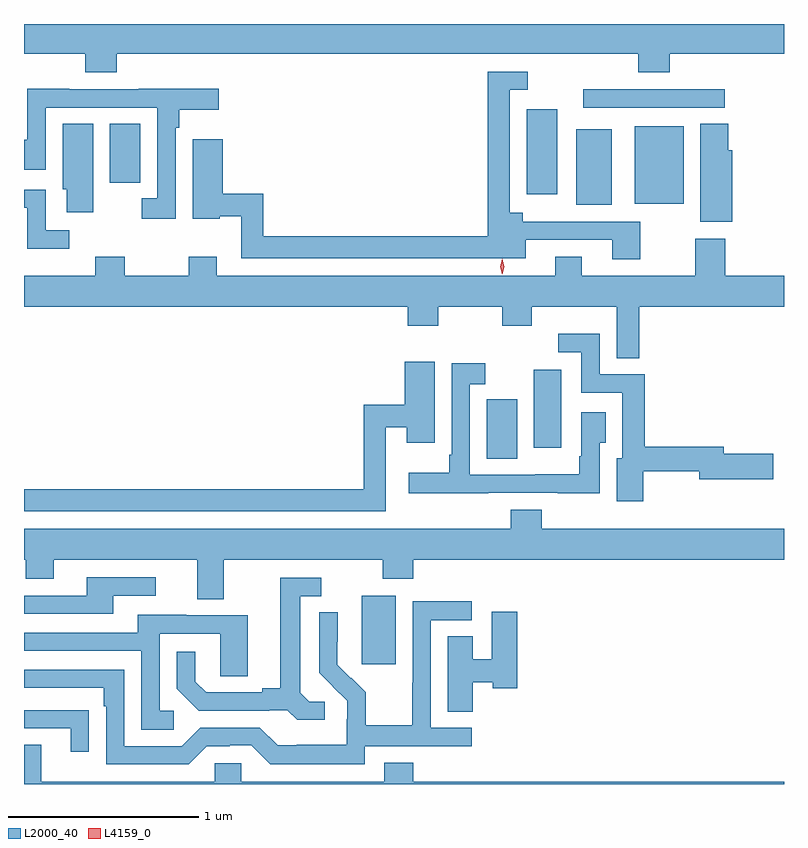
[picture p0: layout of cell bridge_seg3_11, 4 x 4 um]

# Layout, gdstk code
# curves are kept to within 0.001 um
import gdstk
lib = gdstk.Library(unit=1e-6, precision=1e-09)
def R(c, l, rs):  # rectangles x0, y0, x1, y1
    for r in rs: c.add(gdstk.rectangle(r[:2], r[2:], *l))
def P(c, l, *ps):  # polygons
    for p in ps: c.add(gdstk.Polygon(p, *l))
L2000_40 = (2000, 40)
L4159_0 = (4159, 0)

bridge_seg3_11 = lib.new_cell('bridge_seg3_11')
R(bridge_seg3_11, L2000_40, [(686.378,709.689,686.557,710.05), (687.035,710.773,687.196,711.084), (687.284,710.829,687.427,711.241), (687.506,712.109,687.694,712.507), (687.815,712.115,688.072,712.522), (687.245,712.164,687.406,712.612), (685.052,712.224,685.213,712.535), (687.543,712.62,688.288,712.716)])
P(bridge_seg3_11, L2000_40, [(685.088,712.904),(687.833,712.904),(687.833,712.805),(687.998,712.805),(687.998,712.904),(688.6,712.904),(688.6,713.06),(684.6,713.06),(684.6,712.904),(684.923,712.904),(684.923,712.805),(685.088,712.805)],
  [(687.843,712.02),(687.226,712.02),(687.226,712.066),(687.156,712.066),(687.156,712.713),(687.25,712.713),(687.25,712.809),(687.04,712.809),(687.04,711.944),(685.859,711.944),(685.859,712.166),(685.646,712.166),(685.646,712.453),(685.487,712.453),(685.487,712.034),(685.629,712.034),(685.629,712.049),(685.743,712.049),(685.743,711.828),(687.241,711.828),(687.241,711.924),(687.695,711.924),(687.695,711.822),(687.843,711.822)],
  [(685.398,712.514),(685.418,712.514),(685.418,712.61),(685.624,712.61),(685.624,712.718),(685.205,712.718),(685.205,712.716),(684.839,712.716),(684.839,712.718),(684.618,712.718),(684.618,712.452),(684.6,712.452),(684.6,712.293),(684.714,712.293),(684.714,712.62),(685.302,712.62),(685.302,712.143),(685.221,712.143),(685.221,712.035),(685.398,712.035)],
  [(684.964,712.535),(684.803,712.535),(684.803,712.191),(684.824,712.191),(684.824,712.068),(684.964,712.068)],
  [(688.328,712.395),(688.307,712.395),(688.307,712.535),(688.16,712.535),(688.16,712.019),(688.328,712.019)],
  [(684.838,711.975),(684.714,711.975),(684.714,712.188),(684.6,712.188),(684.6,712.092),(684.618,712.092),(684.618,711.878),(684.838,711.878)],
  [(687.838,711.572),(688.6,711.572),(688.6,711.736),(688.292,711.736),(688.292,711.931),(688.132,711.931),(688.132,711.736),(687.535,711.736),(687.535,711.835),(687.395,711.835),(687.395,711.736),(685.615,711.736),(685.615,711.835),(685.468,711.835),(685.468,711.736),(685.131,711.736),(685.131,711.835),(684.976,711.835),(684.976,711.736),(684.6,711.736),(684.6,711.572),(686.621,711.572),(686.621,711.473),(686.781,711.473),(686.781,711.572),(687.118,711.572),(687.118,711.473),(687.273,711.473),(687.273,711.572),(687.719,711.572),(687.719,711.301),(687.838,711.301)],
  [(687.858,710.706),(688.154,710.706),(688.154,710.663),(688.543,710.663),(688.543,710.798),(688.282,710.798),(688.282,710.834),(687.868,710.834),(687.868,711.216),(687.63,711.216),(687.63,711.43),(687.411,711.43),(687.411,711.333),(687.534,711.333),(687.534,711.12),(687.749,711.12),(687.749,710.775),(687.719,710.775),(687.719,710.547),(687.858,710.547)],
  [(686.505,710.938),(686.615,710.938),(686.615,710.856),(686.761,710.856),(686.761,711.283),(686.603,711.283),(686.603,711.056),(686.389,711.056),(686.389,710.612),(684.6,710.612),(684.6,710.496),(686.505,710.496)],
  [(687.043,710.592),(687.409,710.592),(687.409,710.591),(687.63,710.591),(687.63,710.857),(687.661,710.857),(687.661,711.016),(687.534,711.016),(687.534,710.785),(687.522,710.785),(687.522,710.689),(687.292,710.689),(687.292,710.688),(686.946,710.688),(686.946,711.165),(687.028,711.165),(687.028,711.274),(686.85,711.274),(686.85,710.794),(686.838,710.794),(686.838,710.698),(686.625,710.698),(686.625,710.591),(687.043,710.591)],
  [(685.651,710.24),(686.488,710.24),(686.488,710.141),(686.648,710.141),(686.648,710.24),(688.6,710.24),(688.6,710.404),(687.326,710.404),(687.326,710.503),(687.161,710.503),(687.161,710.404),(684.6,710.404),(684.6,710.24),(684.61,710.24),(684.61,710.141),(684.757,710.141),(684.757,710.24),(685.511,710.24),(685.511,710.032),(685.651,710.032)],
  [(685.069,710.052),(685.294,710.052),(685.294,710.148),(684.929,710.148),(684.929,710.052),(684.6,710.052),(684.6,709.956),(685.069,709.956)],
  [(686.182,709.494),(686.1,709.494),(686.053,709.541),(686.053,710.049),(686.164,710.049),(686.164,710.145),(685.949,710.145),(685.949,709.565),(685.853,709.565),(685.853,709.542),(685.558,709.542),(685.501,709.599),(685.501,709.756),(685.404,709.756),(685.404,709.562),(685.52,709.446),(685.892,709.446),(685.892,709.449),(685.986,709.449),(686.038,709.397),(686.182,709.397)],
  [(686.394,709.26),(686.956,709.26),(686.956,709.356),(686.742,709.356),(686.742,709.923),(686.956,709.923),(686.956,710.022),(686.646,710.022),(686.646,709.592),(686.644,709.592),(686.644,709.369),(686.399,709.369),(686.399,709.543),(686.322,709.62),(686.319,709.617),(686.249,709.688),(686.25,709.964),(686.154,709.964),(686.154,709.646),(686.3,709.498),(686.3,709.401),(686.298,709.401),(686.298,709.267),(686.035,709.267),(686.035,709.263),(685.935,709.263),(685.842,709.356),(685.527,709.356),(685.431,709.26),(685.128,709.26),(685.128,709.662),(684.6,709.662),(684.6,709.566),(685.019,709.566),(685.019,709.469),(685.032,709.469),(685.032,709.164),(685.467,709.164),(685.563,709.26),(685.682,709.26),(685.682,709.263),(685.797,709.263),(685.897,709.163),(686.394,709.163)],
  [(686.962,709.595),(687.066,709.595),(687.066,709.565),(687.197,709.565),(687.197,709.966),(687.062,709.966),(687.062,709.717),(686.962,709.717),(686.962,709.838),(686.831,709.838),(686.831,709.441),(686.962,709.441)],
  [(685.387,709.446),(685.314,709.446),(685.314,709.851),(685.632,709.851),(685.632,709.627),(685.777,709.627),(685.777,709.947),(685.453,709.947),(685.453,709.951),(685.199,709.951),(685.199,709.857),(684.6,709.857),(684.6,709.761),(685.218,709.761),(685.218,709.345),(685.387,709.345)],
  [(684.941,709.448),(684.839,709.448),(684.839,709.449),(684.6,709.449),(684.6,709.353),(684.845,709.353),(684.845,709.23),(684.941,709.23)],
  [(688.6,709.072),(686.648,709.072),(686.648,709.171),(686.495,709.171),(686.495,709.072),(685.743,709.072),(685.743,709.17),(685.605,709.17),(685.605,709.072),(684.691,709.072),(684.691,709.267),(684.6,709.267),(684.6,709.06),(688.6,709.06)])
P(bridge_seg3_11, L4159_0, [(687.116,711.742),(687.107,711.783),(687.116,711.824),(687.117,711.824),(687.117,711.824),(687.127,711.783),(687.117,711.742),(687.117,711.742)])

lib.write_gds('bridge_seg3_11.gds')
